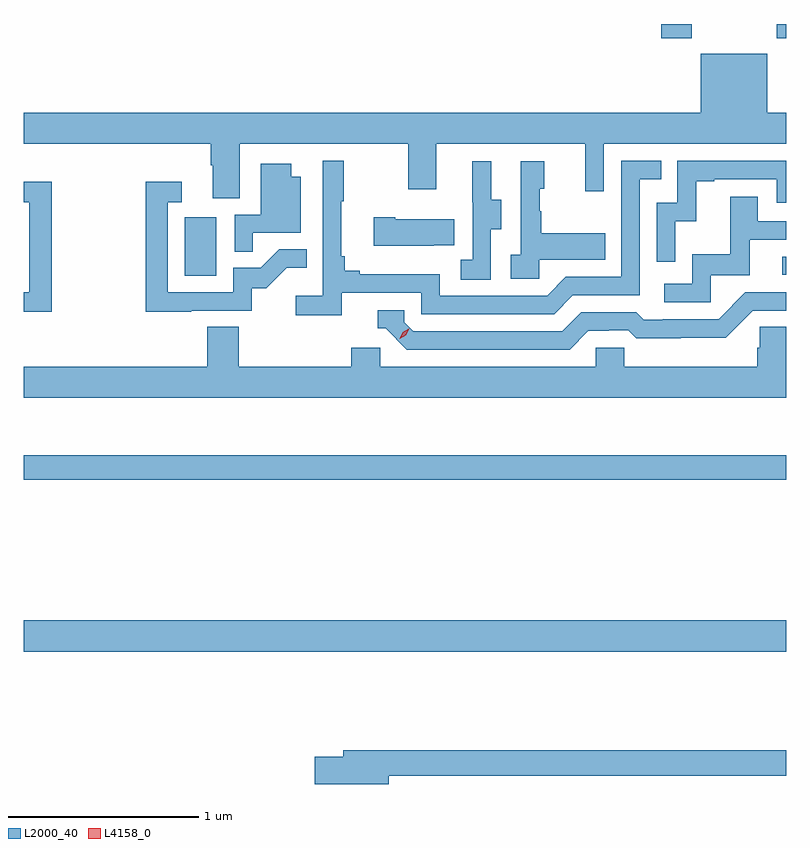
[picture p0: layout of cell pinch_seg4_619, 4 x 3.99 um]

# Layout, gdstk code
import gdstk
lib = gdstk.Library(unit=1e-6, precision=1e-09)
def R(c, l, rs):  # rectangles x0, y0, x1, y1
    for r in rs: c.add(gdstk.rectangle(r[:2], r[2:], *l))
def P(c, l, *ps):  # polygons
    for p in ps: c.add(gdstk.Polygon(p, *l))
L2000_40 = (2000, 40)
L4158_0 = (4158, 0)

pinch_seg4_619 = lib.new_cell('pinch_seg4_619')
R(pinch_seg4_619, L2000_40, [(1058.913,760.856,1062.913,761.02), (1058.913,761.758,1062.913,761.887), (1059.758,762.828,1059.922,763.135), (1062.891,762.834,1062.913,762.927), (1062.257,764.073,1062.417,764.149), (1062.862,764.073,1062.913,764.149)])
P(pinch_seg4_619, L2000_40, [(1060.045,763.52),(1060.93,763.52),(1060.93,763.281),(1061.077,763.281),(1061.077,763.52),(1061.858,763.52),(1061.858,763.272),(1061.955,763.272),(1061.955,763.52),(1062.913,763.52),(1062.913,763.684),(1062.814,763.684),(1062.814,763.993),(1062.464,763.993),(1062.464,763.684),(1058.913,763.684),(1058.913,763.52),(1059.893,763.52),(1059.893,763.408),(1059.905,763.408),(1059.905,763.234),(1060.045,763.234)],
  [(1060.58,762.738),(1060.998,762.738),(1060.998,762.627),(1061.695,762.627),(1061.794,762.726),(1062.144,762.726),(1062.144,763.335),(1062.257,763.335),(1062.257,763.431),(1062.048,763.431),(1062.048,762.822),(1061.757,762.822),(1061.658,762.723),(1061.094,762.723),(1061.094,762.835),(1060.675,762.835),(1060.675,762.854),(1060.598,762.854),(1060.598,762.931),(1060.579,762.931),(1060.579,763.219),(1060.591,763.219),(1060.591,763.432),(1060.482,763.432),(1060.482,762.724),(1060.341,762.724),(1060.341,762.622),(1060.58,762.622)],
  [(1062.33,763.115),(1062.44,763.115),(1062.44,763.323),(1062.535,763.323),(1062.535,763.335),(1062.864,763.335),(1062.864,763.212),(1062.913,763.212),(1062.913,763.431),(1062.342,763.431),(1062.342,763.212),(1062.234,763.212),(1062.234,762.903),(1062.33,762.903)],
  [(1061.616,762.911),(1061.963,762.911),(1061.963,763.051),(1061.629,763.051),(1061.629,763.166),(1061.619,763.166),(1061.619,763.284),(1061.644,763.284),(1061.644,763.429),(1061.52,763.429),(1061.52,762.938),(1061.469,762.938),(1061.469,762.813),(1061.616,762.813)],
  [(1061.364,763.072),(1061.419,763.072),(1061.419,763.227),(1061.365,763.227),(1061.365,763.429),(1061.267,763.429),(1061.267,763.215),(1061.268,763.215),(1061.268,762.911),(1061.205,762.911),(1061.205,762.808),(1061.364,762.808)],
  [(1060.115,763.053),(1060.366,763.053),(1060.366,763.348),(1060.315,763.348),(1060.315,763.417),(1060.157,763.417),(1060.157,763.149),(1060.02,763.149),(1060.02,762.955),(1060.115,762.955)],
  [(1059.059,763.321),(1058.913,763.321),(1058.913,763.215),(1058.943,763.215),(1058.943,762.741),(1058.913,762.741),(1058.913,762.64),(1059.059,762.64)],
  [(1059.791,762.645),(1060.11,762.645),(1060.11,762.762),(1060.186,762.762),(1060.293,762.869),(1060.397,762.869),(1060.397,762.967),(1060.253,762.967),(1060.156,762.87),(1060.011,762.87),(1060.011,762.741),(1059.669,762.741),(1059.669,763.215),(1059.742,763.215),(1059.742,763.321),(1059.553,763.321),(1059.553,762.64),(1059.791,762.64)],
  [(1062.516,762.831),(1062.721,762.831),(1062.721,763.017),(1062.913,763.017),(1062.913,763.113),(1062.763,763.113),(1062.763,763.243),(1062.619,763.243),(1062.619,762.94),(1062.42,762.94),(1062.42,762.786),(1062.273,762.786),(1062.273,762.69),(1062.516,762.69)],
  [(1061.063,762.989),(1061.171,762.989),(1061.171,763.126),(1060.861,763.126),(1060.861,763.134),(1060.749,763.134),(1060.749,762.986),(1061.063,762.986)],
  [(1061.875,762.54),(1061.982,762.54),(1061.982,762.543),(1062.085,762.543),(1062.127,762.501),(1062.36,762.501),(1062.36,762.503),(1062.596,762.503),(1062.738,762.645),(1062.913,762.645),(1062.913,762.741),(1062.699,762.741),(1062.558,762.6),(1062.265,762.6),(1062.265,762.597),(1062.166,762.597),(1062.127,762.636),(1061.838,762.636),(1061.739,762.537),(1060.956,762.537),(1060.908,762.585),(1060.908,762.648),(1060.769,762.648),(1060.769,762.552),(1060.812,762.552),(1060.923,762.441),(1061.776,762.441)],
  [(1062.913,762.352),(1062.912,762.352),(1062.912,762.56),(1062.775,762.56),(1062.775,762.45),(1062.761,762.45),(1062.761,762.352),(1062.063,762.352),(1062.063,762.45),(1061.913,762.45),(1061.913,762.352),(1060.782,762.352),(1060.782,762.45),(1060.631,762.45),(1060.631,762.352),(1060.04,762.352),(1060.04,762.56),(1059.875,762.56),(1059.875,762.352),(1058.913,762.352),(1058.913,762.188),(1062.913,762.188)],
  [(1060.828,760.204),(1062.913,760.204),(1062.913,760.34),(1060.589,760.34),(1060.589,760.304),(1060.44,760.304),(1060.44,760.162),(1060.828,760.162)])
P(pinch_seg4_619, L4158_0, [(1060.885,762.498),(1060.885,762.498),(1060.902,762.531),(1060.933,762.55),(1060.934,762.55),(1060.934,762.55),(1060.917,762.517),(1060.885,762.498)])

lib.write_gds('pinch_seg4_619.gds')
